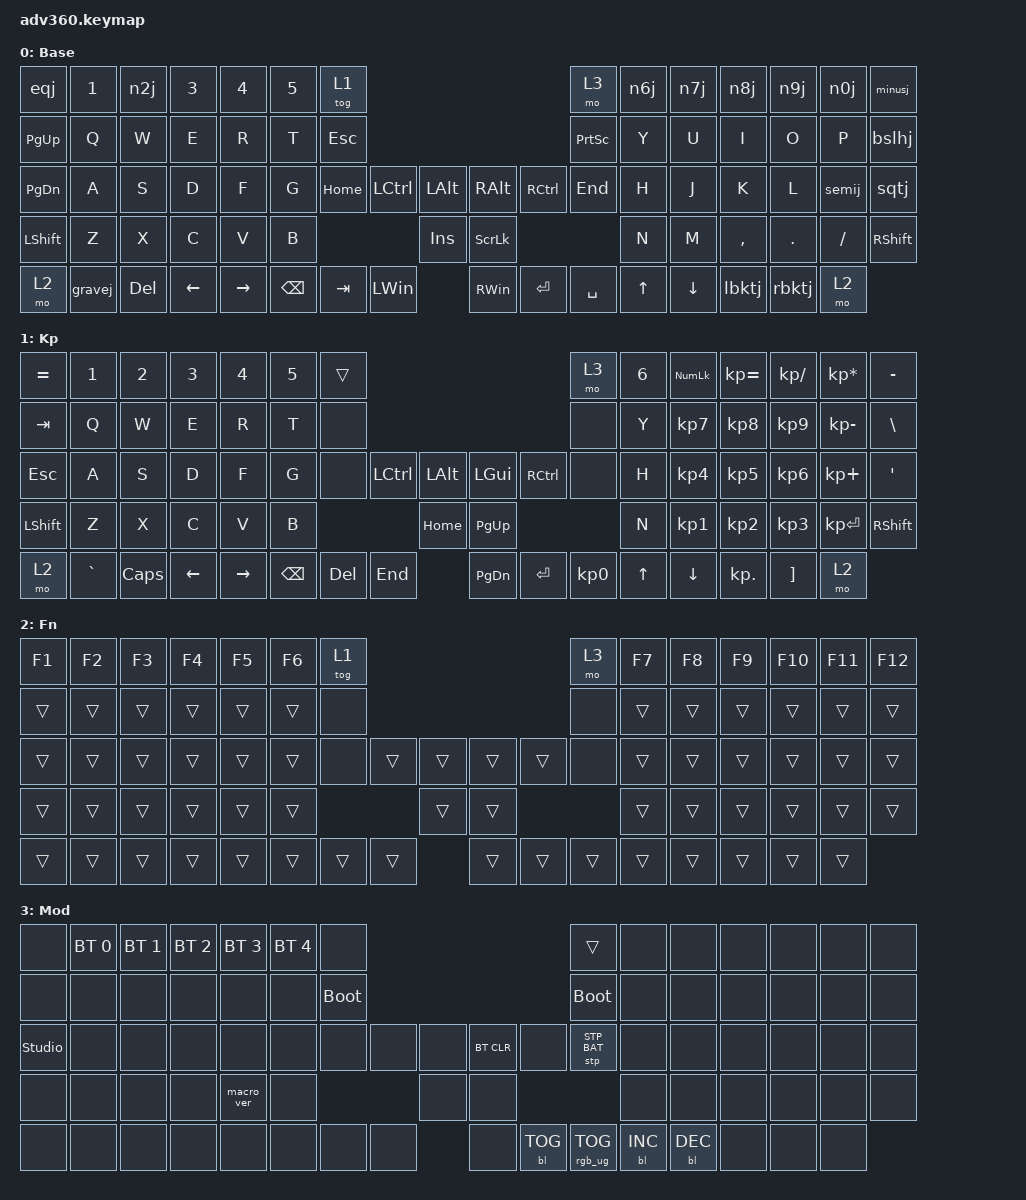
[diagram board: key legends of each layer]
#include <behaviors.dtsi>
#include <dt-bindings/zmk/keys.h>
#include <dt-bindings/zmk/bt.h>
#include <dt-bindings/zmk/rgb.h>
#include <dt-bindings/zmk/stp.h>
#include <dt-bindings/zmk/backlight.h>
#include <dt-bindings/zmk/pointing.h>

/ {
  behaviors {
    #include "macros.dtsi"
    #include "version.dtsi"
    #include "JIS.dtsi"

    hm: homerow_mods {
        compatible = "zmk,behavior-hold-tap";
        label = "HOMEROW_MODS";
        #binding-cells = <2>;
        tapping-term-ms = <200>;
        quick_tap_ms = <175>;
        flavor = "tap-preferred";
        bindings = <&kp>, <&kp>;
    };
    eqj: us_equal_on_jis {
        compatible = "zmk,behavior-mod-morph";
        label = "US_EQUAL_ON_JIS";
        #binding-cells = <0>;
        bindings = <&kp JIS_EQUAL>, <&kp JIS_PLUS>;
        mods = <(MOD_LSFT|MOD_RSFT)>;
    };
    n2j: us_number_2_on_jis {
        compatible = "zmk,behavior-mod-morph";
        label = "US_NUMBER_2_ON_JIS";
        #binding-cells = <0>;
        bindings = <&kp NUMBER_2>, <&kp JIS_AT>;
        mods = <(MOD_LSFT|MOD_RSFT)>;
    };
    n6j: us_number_6_on_jis {
        compatible = "zmk,behavior-mod-morph";
        label = "US_NUMBER_6_ON_JIS";
        #binding-cells = <0>;
        bindings = <&kp NUMBER_6>, <&kp JIS_CARET>;
        mods = <(MOD_LSFT|MOD_RSFT)>;
    };
    n7j: us_number_7_on_jis {
        compatible = "zmk,behavior-mod-morph";
        label = "US_NUMBER_7_ON_JIS";
        #binding-cells = <0>;
        bindings = <&kp NUMBER_7>, <&kp JIS_AMPERSAND>;
        mods = <(MOD_LSFT|MOD_RSFT)>;
    };
    n8j: us_number_8_on_jis {
        compatible = "zmk,behavior-mod-morph";
        label = "US_NUMBER_8_ON_JIS";
        #binding-cells = <0>;
        bindings = <&kp NUMBER_8>, <&kp JIS_ASTERISK>;
        mods = <(MOD_LSFT|MOD_RSFT)>;
    };
    n9j: us_number_9_on_jis {
        compatible = "zmk,behavior-mod-morph";
        label = "US_NUMBER_9_ON_JIS";
        #binding-cells = <0>;
        bindings = <&kp NUMBER_9>, <&kp JIS_LEFT_PARENTHESIS>;
        mods = <(MOD_LSFT|MOD_RSFT)>;
    };
    n0j: us_number_0_on_jis {
        compatible = "zmk,behavior-mod-morph";
        label = "US_NUMBER_0_ON_JIS";
        #binding-cells = <0>;
        bindings = <&kp NUMBER_0>, <&kp JIS_RIGHT_PARENTHESIS>;
        mods = <(MOD_LSFT|MOD_RSFT)>;
    };
    minusj: us_minus_on_jis {
        compatible = "zmk,behavior-mod-morph";
        label = "US_MINUS_ON_JIS";
        #binding-cells = <0>;
        bindings = <&kp MINUS>, <&kp JIS_UNDERSCORE>;
        mods = <(MOD_LSFT|MOD_RSFT)>;
    };
    bslhj: us_backslash_on_jis {
        compatible = "zmk,behavior-mod-morph";
        label = "US_BACKSLASH_ON_JIS";
        #binding-cells = <0>;
        bindings = <&kp JIS_YEN>, <&kp JIS_PIPE>;
        mods = <(MOD_LSFT|MOD_RSFT)>;
    };
    semij: us_semicolon_on_jis {
        compatible = "zmk,behavior-mod-morph";
        label = "US_SEMICOLON_ON_JIS";
        #binding-cells = <0>;
        bindings = <&kp SEMICOLON>, <&kp JIS_COLON>;
        mods = <(MOD_LSFT|MOD_RSFT)>;
    };
    sqtj: us_single_quote_on_jis {
        compatible = "zmk,behavior-mod-morph";
        label = "US_SINGLE_QUOTE_ON_JIS";
        #binding-cells = <0>;
        bindings = <&kp JIS_QUOTE>, <&kp JIS_DOUBLE_QUOTES>;
        mods = <(MOD_LSFT|MOD_RSFT)>;
    };
    gravej: us_grave_on_jis {
        compatible = "zmk,behavior-mod-morph";
        label = "US_GRAVE_ON_JIS";
        #binding-cells = <0>;
        bindings = <&kp JIS_BACKQUOTE>, <&kp JIS_TILDE>;
        mods = <(MOD_LSFT|MOD_RSFT)>;
    };
    lbktj: us_left_bracket_on_jis {
        compatible = "zmk,behavior-mod-morph";
        label = "US_LEFT_BRACKET_ON_JIS";
        #binding-cells = <0>;
        bindings = <&kp JIS_LEFT_BRACKET>, <&kp JIS_LEFT_BRACE>;
        mods = <(MOD_LSFT|MOD_RSFT)>;
    };
    rbktj: us_right_bracket_on_jis {
        compatible = "zmk,behavior-mod-morph";
        label = "US_RIGHT_BRACKET_ON_JIS";
        #binding-cells = <0>;
        bindings = <&kp JIS_RIGHT_BRACKET>, <&kp JIS_RIGHT_BRACE>;
        mods = <(MOD_LSFT|MOD_RSFT)>;
    };
  };

  keymap {
    compatible = "zmk,keymap";

    default_layer {
      display-name = "Base";
      bindings = <
        &eqj      &kp N1    &n2j     &kp N3   &kp N4     &kp N5 &tog 1                                                              &mo 3           &n6j   &n7j     &n8j      &n9j     &n0j     &minusj
        &kp PG_UP &kp Q     &kp W    &kp E    &kp R      &kp T  &kp ESC                                                             &kp PRINTSCREEN &kp Y  &kp U    &kp I     &kp O    &kp P    &bslhj
        &kp PG_DN &kp A     &kp S    &kp D    &kp F      &kp G  &kp HOME          &kp LCTRL &kp LALT   &kp RALT &kp RCTRL           &kp END         &kp H  &kp J    &kp K     &kp L    &semij   &sqtj
        &kp LSHFT &kp Z     &kp X    &kp C    &kp V      &kp B                              &kp INSERT &kp SCROLLLOCK                               &kp N  &kp M    &kp COMMA &kp DOT  &kp FSLH &kp RSHFT
        &mo 2     &gravej   &kp DEL  &kp LEFT &kp RIGHT                  &kp BSPC &kp TAB   &kp LWIN   &kp RWIN &kp ENTER &kp SPACE                 &kp UP &kp DOWN &lbktj    &rbktj   &mo 2
      >;
    };
    keypad {
      display-name = "Kp";
      bindings = <
        &kp EQUAL &kp N1    &kp N2   &kp N3   &kp N4     &kp N5 &trans                                                           &mo 3 &kp N6 &kp KP_NUM &kp KP_EQUAL &kp KP_DIVIDE &kp KP_MULTIPLY &kp MINUS
        &kp TAB   &kp Q     &kp W    &kp E    &kp R      &kp T  &none                                                            &none &kp Y  &kp KP_N7  &kp KP_N8    &kp KP_N9     &kp KP_MINUS    &kp BSLH
        &kp ESC   &kp A     &kp S    &kp D    &kp F      &kp G  &none           &kp LCTRL &kp LALT &kp LGUI  &kp RCTRL           &none &kp H  &kp KP_N4  &kp KP_N5    &kp KP_N6     &kp KP_PLUS     &kp SQT
        &kp LSHFT &kp Z     &kp X    &kp C    &kp V      &kp B                            &kp HOME &kp PG_UP                           &kp N  &kp KP_N1  &kp KP_N2    &kp KP_N3     &kp KP_ENTER    &kp RSHFT
        &mo 2     &kp GRAVE &kp CAPS &kp LEFT &kp RIGHT                &kp BSPC &kp DEL   &kp END  &kp PG_DN &kp ENTER &kp KP_N0              &kp UP     &kp DOWN     &kp KP_DOT    &kp RBKT        &mo 2
      >;
    };
    fn {
      display-name = "Fn";
      bindings = <
        &kp F1 &kp F2 &kp F3 &kp F4 &kp F5 &kp F6 &tog 1                                           &mo 3 &kp F7 &kp F8 &kp F9 &kp F10 &kp F11 &kp F12
        &trans &trans &trans &trans &trans &trans  &none                                           &none &trans &trans &trans &trans  &trans  &trans
        &trans &trans &trans &trans &trans &trans  &none        &trans &trans &trans &trans        &none &trans &trans &trans &trans  &trans  &trans
        &trans &trans &trans &trans &trans &trans                      &trans &trans                     &trans &trans &trans &trans  &trans  &trans
        &trans &trans &trans &trans &trans               &trans &trans &trans &trans &trans &trans              &trans &trans &trans  &trans  &trans
      >;
    };
    mod {
      display-name = "Mod";
      bindings = <
        &none &bt BT_SEL 0 &bt BT_SEL 1 &bt BT_SEL 2 &bt BT_SEL 3 &bt BT_SEL 4 &none                                                                     &trans                 &none        &none        &none        &none &none &none
        &none &none        &none        &none        &none        &none        &bootloader                                                               &bootloader            &none        &none        &none        &none &none &none
        &studio_unlock &none        &none        &none        &none        &none        &none                   &none &none &bt BT_CLR &none                      &stp STP_BAT &none        &none        &none        &none &none &none
        &none &none        &none        &none        &macro_ver   &none                                      &none &none                                                        &none        &none        &none        &none &none &none
        &none &none        &none        &none        &none                                       &none &none &none &none      &bl BL_TOG &rgb_ug RGB_TOG                                     &bl BL_INC   &bl BL_DEC   &none &none &none
      >;
    };
    extra1 { 
      display-name = "Red";    
      status = "reserved";
    };

    extra2 { 
      display-name = "Purple";    
      status = "reserved";
    };

    extra3 { 
      display-name = "Cyan";    
      status = "reserved";
    };

    extra4 { 
      display-name = "Yellow";    
      status = "reserved";
    };
  };
};
